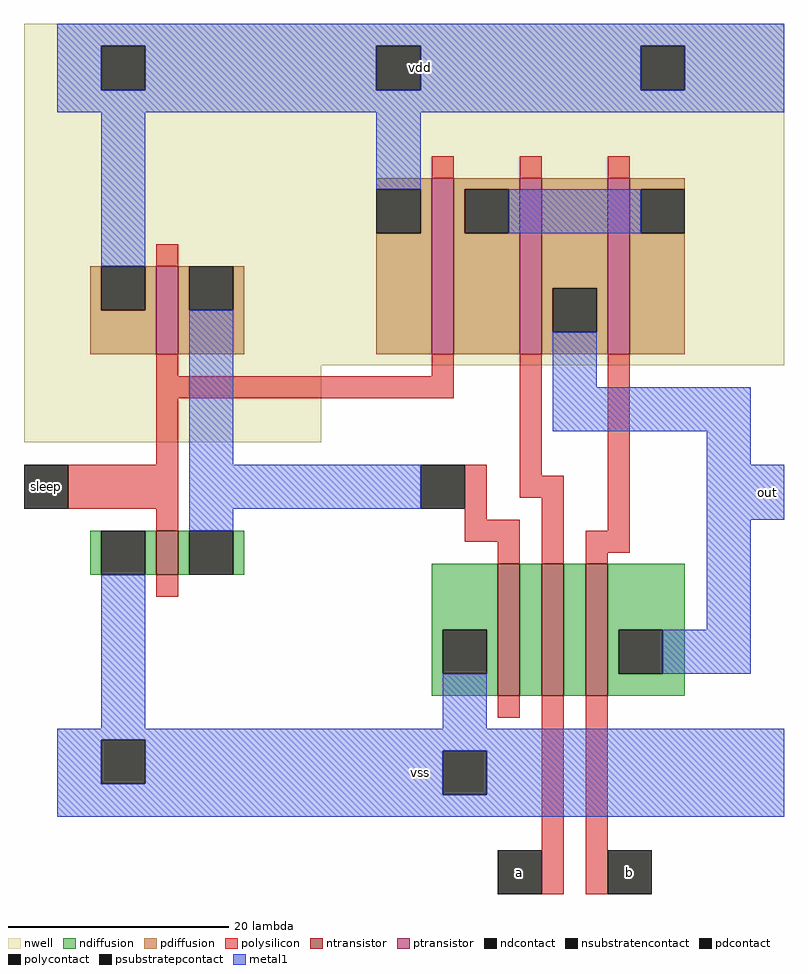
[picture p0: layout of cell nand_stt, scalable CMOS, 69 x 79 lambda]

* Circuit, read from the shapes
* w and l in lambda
.subckt nand_stt a b out sleep vdd vss
M1 n1 sleep vss vss nfet w=4 l=2
M2 n2 n1 vss vss nfet w=12 l=2
M3 n3 a n2 vss nfet w=12 l=2
M4 out b n3 vss nfet w=12 l=2
M5 n1 sleep vdd vdd pfet w=8 l=2
M6 n4 sleep vdd vdd pfet w=16 l=2
M7 out a n4 vdd pfet w=16 l=2
M8 n4 b out vdd pfet w=16 l=2
.ends

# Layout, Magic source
magic
tech scmos
<< nwell >>
rect 58 42 127 73
rect 58 35 85 42
<< polysilicon >>
rect 95 59 97 61
rect 103 59 105 61
rect 111 59 113 61
rect 70 51 72 53
rect 70 41 72 43
rect 95 41 97 43
rect 70 39 97 41
rect 70 33 72 39
rect 62 29 72 33
rect 70 27 72 29
rect 98 28 100 33
rect 103 32 105 43
rect 103 30 107 32
rect 98 26 103 28
rect 101 24 103 26
rect 105 24 107 30
rect 111 27 113 43
rect 109 25 113 27
rect 109 24 111 25
rect 70 21 72 23
rect 101 10 103 12
rect 105 -6 107 12
rect 109 -6 111 12
<< ndiffusion >>
rect 64 23 65 27
rect 69 23 70 27
rect 72 23 73 27
rect 77 23 78 27
rect 95 18 101 24
rect 95 14 96 18
rect 100 14 101 18
rect 95 12 101 14
rect 103 12 105 24
rect 107 12 109 24
rect 111 18 118 24
rect 111 14 112 18
rect 116 14 118 18
rect 111 12 118 14
<< pdiffusion >>
rect 90 58 95 59
rect 94 54 95 58
rect 64 47 65 51
rect 69 47 70 51
rect 64 43 70 47
rect 72 47 73 51
rect 77 47 78 51
rect 72 43 78 47
rect 90 43 95 54
rect 97 58 103 59
rect 97 54 98 58
rect 102 54 103 58
rect 97 43 103 54
rect 105 49 111 59
rect 105 45 106 49
rect 110 45 111 49
rect 105 43 111 45
rect 113 58 118 59
rect 113 54 114 58
rect 113 43 118 54
<< metal1 >>
rect 61 71 127 73
rect 61 67 65 71
rect 69 67 90 71
rect 94 67 114 71
rect 118 67 127 71
rect 61 65 127 67
rect 65 51 69 65
rect 90 58 94 65
rect 102 54 114 58
rect 73 33 77 47
rect 106 40 110 45
rect 106 36 124 40
rect 120 33 124 36
rect 73 29 94 33
rect 73 27 77 29
rect 120 28 127 33
rect 65 9 69 23
rect 120 18 124 28
rect 116 14 124 18
rect 96 9 100 14
rect 61 8 127 9
rect 61 4 65 8
rect 69 7 127 8
rect 69 4 96 7
rect 61 3 96 4
rect 100 3 127 7
rect 61 1 127 3
<< ntransistor >>
rect 70 23 72 27
rect 101 12 103 24
rect 105 12 107 24
rect 109 12 111 24
<< ptransistor >>
rect 70 43 72 51
rect 95 43 97 59
rect 103 43 105 59
rect 111 43 113 59
<< polycontact >>
rect 58 29 62 33
rect 94 29 98 33
rect 101 -6 105 -2
rect 111 -6 115 -2
<< ndcontact >>
rect 65 23 69 27
rect 73 23 77 27
rect 96 14 100 18
rect 112 14 116 18
<< pdcontact >>
rect 90 54 94 58
rect 65 47 69 51
rect 73 47 77 51
rect 98 54 102 58
rect 106 45 110 49
rect 114 54 118 58
<< psubstratepcontact >>
rect 65 4 69 8
rect 96 3 100 7
<< nsubstratencontact >>
rect 65 67 69 71
rect 90 67 94 71
rect 114 67 118 71
<< labels >>
rlabel polycontact 58 29 62 33 7 sleep
rlabel metal1 124 28 127 33 3 out
rlabel polycontact 101 -6 105 -2 7 a
rlabel polycontact 111 -6 115 -2 3 b
rlabel metal1 61 1 127 9 5 vss
rlabel nwell 61 65 127 73 1 vdd
<< end >>
